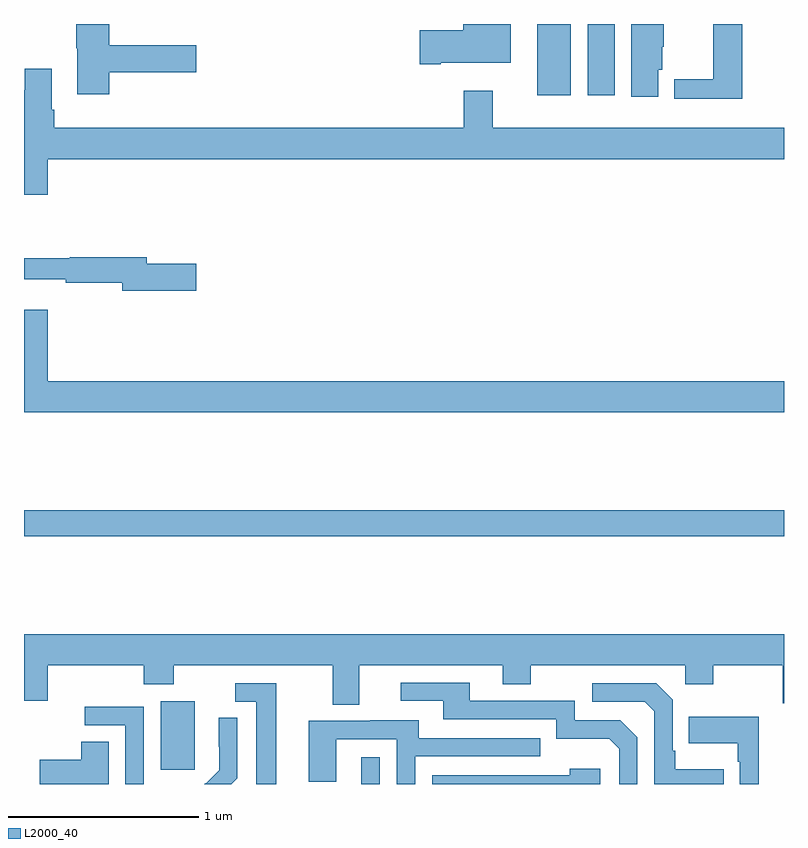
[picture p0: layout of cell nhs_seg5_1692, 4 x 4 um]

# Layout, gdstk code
import gdstk
lib = gdstk.Library(unit=1e-6, precision=1e-09)
def R(c, l, rs):  # rectangles x0, y0, x1, y1
    for r in rs: c.add(gdstk.rectangle(r[:2], r[2:], *l))
def P(c, l, *ps):  # polygons
    for p in ps: c.add(gdstk.Polygon(p, *l))
L2000_40 = (2000, 40)

nhs_seg5_1692 = lib.new_cell('nhs_seg5_1692')
R(nhs_seg5_1692, L2000_40, [(214.775,858.799,214.872,858.94), (213.719,858.873,213.898,859.234), (213,860.104,217,860.24), (215.702,862.424,215.878,862.799), (215.966,862.424,216.109,862.799)])
P(nhs_seg5_1692, L2000_40, [(216.337,862.557),(216.358,862.557),(216.358,862.68),(216.367,862.68),(216.367,862.799),(216.197,862.799),(216.197,862.416),(216.337,862.416)],
  [(213.449,862.546),(213.907,862.546),(213.907,862.688),(213.449,862.688),(213.449,862.799),(213.274,862.799),(213.274,862.671),(213.281,862.671),(213.281,862.428),(213.449,862.428)],
  [(216.779,862.799),(216.628,862.799),(216.628,862.508),(216.423,862.508),(216.423,862.406),(216.779,862.406)],
  [(215.194,862.595),(215.563,862.595),(215.563,862.799),(215.312,862.799),(215.312,862.766),(215.082,862.766),(215.082,862.588),(215.194,862.588)],
  [(213.124,862.088),(217,862.088),(217,862.252),(215.467,862.252),(215.467,862.447),(215.315,862.447),(215.315,862.252),(213.158,862.252),(213.158,862.348),(213.145,862.348),(213.145,862.564),(213.005,862.564),(213.005,862.451),(213,862.451),(213,861.9),(213.124,861.9)],
  [(213.907,861.536),(213.646,861.536),(213.646,861.572),(213.242,861.572),(213.242,861.565),(213,861.565),(213,861.455),(213.22,861.455),(213.22,861.436),(213.518,861.436),(213.518,861.394),(213.907,861.394)],
  [(217,860.92),(213.124,860.92),(213.124,861.295),(213,861.295),(213,860.756),(217,860.756)],
  [(214.765,859.424),(215.519,859.424),(215.519,859.325),(215.667,859.325),(215.667,859.424),(216.48,859.424),(216.48,859.325),(216.627,859.325),(216.627,859.424),(216.994,859.424),(216.994,859.225),(217,859.225),(217,859.588),(213,859.588),(213,859.236),(213.124,859.236),(213.124,859.424),(213.629,859.424),(213.629,859.325),(213.789,859.325),(213.789,859.424),(214.625,859.424),(214.625,859.216),(214.765,859.216)],
  [(216.228,859.044),(216.138,859.134),(215.898,859.134),(215.898,859.236),(215.347,859.236),(215.347,859.332),(214.983,859.332),(214.983,859.236),(215.207,859.236),(215.207,859.14),(215.802,859.14),(215.802,859.037),(216.079,859.037),(216.132,858.984),(216.132,858.799),(216.228,858.799)],
  [(216.683,858.877),(216.427,858.877),(216.427,858.973),(216.414,858.973),(216.414,859.242),(216.327,859.329),(215.991,859.329),(215.991,859.233),(216.267,859.233),(216.318,859.182),(216.318,858.799),(216.683,858.799)],
  [(214.327,859.329),(214.113,859.329),(214.113,859.233),(214.223,859.233),(214.223,858.799),(214.327,858.799)],
  [(213.63,859.206),(213.321,859.206),(213.321,859.107),(213.534,859.107),(213.534,858.799),(213.63,858.799)],
  [(216.866,859.153),(216.499,859.153),(216.499,859.013),(216.756,859.013),(216.756,858.917),(216.768,858.917),(216.768,858.799),(216.866,858.799)],
  [(214.122,858.83),(214.122,859.148),(214.026,859.148),(214.026,858.994),(214.028,858.994),(214.028,858.872),(213.957,858.801),(213.954,858.804),(213.949,858.799),(214.091,858.799)],
  [(215.058,858.945),(215.717,858.945),(215.717,859.041),(215.077,859.041),(215.077,859.135),(214.823,859.135),(214.823,859.131),(214.499,859.131),(214.499,858.811),(214.644,858.811),(214.644,859.035),(214.962,859.035),(214.962,858.799),(215.058,858.799)],
  [(213.445,859.022),(213.302,859.022),(213.302,858.927),(213.084,858.927),(213.084,858.799),(213.445,858.799)],
  [(216.034,858.88),(215.873,858.88),(215.873,858.846),(215.148,858.846),(215.148,858.799),(216.034,858.799)])

lib.write_gds('nhs_seg5_1692.gds')
